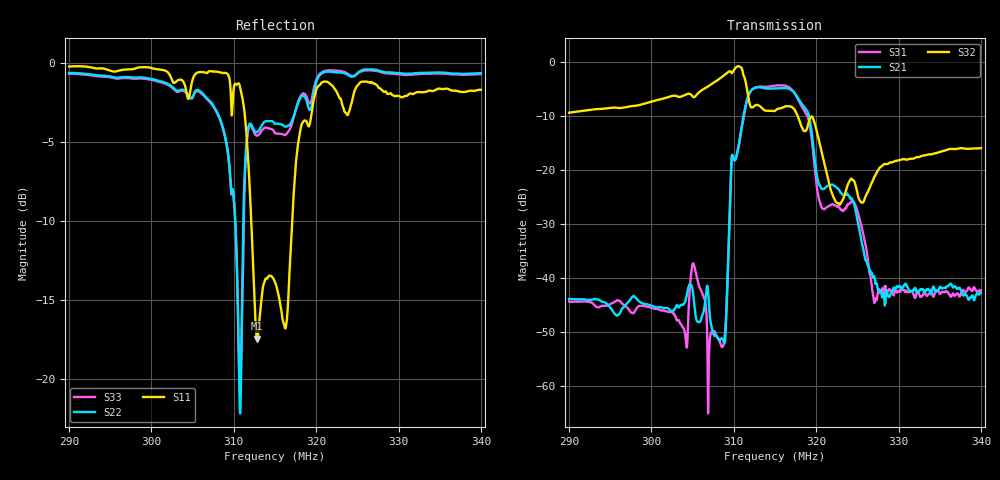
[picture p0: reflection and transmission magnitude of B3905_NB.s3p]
! Matrix data file written by TouchstoneData, EPCOS AG
! FILENAME: "LY09A.NB.s3p_newformat"
! COMMENT: "(LY09A.NB.s3p)"
! INFO: nport=3, nfreq=1601
! DATE: "Wed Sep  9 09:42:43 2009"
! USER: "Michael Schemies"
! port | pin | signal
!  1  |  2  |  in
!  2  |  4  |  out
!  3  |  6  |  out
# MHZ S MA R 50
! freq  magS11 angS11  magS12 angS12  magS13 angS13  ...
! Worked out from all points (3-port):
!   1601 points, 290 MHz to 340 MHz, reference 50 ohm
!   strongest paths, dB at 290 MHz, 302.5 MHz, 315 MHz, 327.5 MHz, 340 MHz:
!     S32: -9.4, -6.3, -9.1, -20.1, -16.0
!     S21: -43.9, -46.2, -4.9, -42.2, -42.7
!     S31: -44.4, -46.4, -4.4, -42.5, -42.3
!   lowest |S11| = -17.4 dB at 312.8 MHz (marker M1), VSWR 1.31, Z = 61.8 - j9.45 ohm
!   |S11| at or under -10 dB: 312.1 MHz to 317.1 MHz (4.976 MHz wide, 1.58 % of centre)
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290  0.9784 -81.3  0.006383 42.2  0.006062 43.0
     0.00638 42.4  0.9341 -31.9  0.3394 57.6
     0.006051 43.1  0.3393 57.6  0.9279 -31.6
305.125  0.908 -107.8  0.006403 -129.8  0.01346 40.7
         0.006403 -129.7  0.7976 -40.4  0.4722 39.4
         0.01343 40.7  0.4719 39.3  0.7928 -40.4
308.625  0.9329 -144.5  0.002726 21.6  0.002294 18.4
         0.002726 21.7  0.6333 -60.3  0.7338 26.4
         0.002292 18.5  0.7335 26.4  0.628 -60.4
309.8438  0.745 -160.1  0.1365 -18.5  0.136 161.2
          0.1363 -18.5  0.4001 -64.6  0.8017 10.9
          0.1357 161.3  0.8013 10.9  0.3987 -64.3
312.8438  0.1346 -33.9  0.5828 72.3  0.5878 -108.8
          0.5819 72.4  0.607 -6.6  0.4003 -19.8
          0.5867 -108.7  0.4002 -19.8  0.591 -7.7
315  0.2028 85.3  0.5688 -53.0  0.6051 127.3
     0.5677 -52.9  0.6439 -11.0  0.3528 -14.8
     0.6036 127.4  0.3526 -14.9  0.6016 -10.8
317.0625  0.303 159.8  0.543 -167.8  0.552 14.8
          0.542 -167.7  0.6579 -2.4  0.3832 -34.0
          0.5507 14.8  0.383 -34.0  0.6448 2.1
320.625  0.8678 10.6  0.06727 45.3  0.04575 -142.0
         0.06723 45.4  0.9276 -4.7  0.1518 -75.5
         0.04566 -141.9  0.1517 -75.5  0.9352 -4.2
327.125  0.8634 -35.5  0.009752 76.5  0.006014 45.0
         0.009743 76.6  0.9553 -17.7  0.08765 50.9
         0.005995 45.0  0.08755 50.9  0.9477 -17.7
340  0.8256 -49.9  0.007342 65.5  0.007711 59.1
     0.007334 65.6  0.9322 -22.1  0.1595 48.8
     0.00769 59.2  0.1594 48.8  0.9247 -22.1
